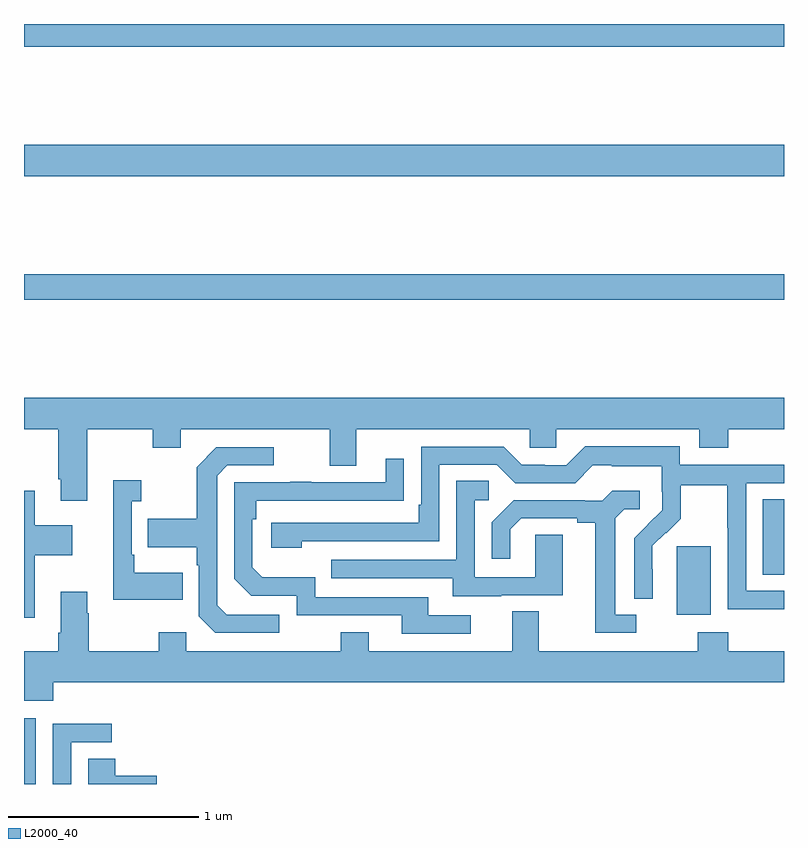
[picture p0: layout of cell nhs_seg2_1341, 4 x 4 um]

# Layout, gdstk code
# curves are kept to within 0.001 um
import gdstk
lib = gdstk.Library(unit=1e-6, precision=1e-09)
def R(c, l, rs):  # rectangles x0, y0, x1, y1
    for r in rs: c.add(gdstk.rectangle(r[:2], r[2:], *l))
def P(c, l, *ps):  # polygons
    for p in ps: c.add(gdstk.Polygon(p, *l))
L2000_40 = (2000, 40)

nhs_seg2_1341 = lib.new_cell('nhs_seg2_1341')
R(nhs_seg2_1341, L2000_40, [(181,613.8,181.063,614.146), (184.436,614.69,184.615,615.051), (184.889,614.902,185,615.299), (181,616.348,185,616.484), (181,617,185,617.164), (181,617.68,185,617.8)])
P(nhs_seg2_1341, L2000_40, [(181.333,615.668),(181.678,615.668),(181.678,615.569),(181.825,615.569),(181.825,615.668),(182.609,615.668),(182.609,615.474),(182.749,615.474),(182.749,615.668),(183.663,615.668),(183.663,615.57),(183.801,615.57),(183.801,615.668),(184.553,615.668),(184.553,615.569),(184.706,615.569),(184.706,615.668),(185,615.668),(185,615.832),(181,615.832),(181,615.668),(181.181,615.668),(181.181,615.403),(181.193,615.403),(181.193,615.291),(181.333,615.291)],
  [(185,614.817),(184.8,614.817),(184.8,615.384),(185,615.384),(185,615.48),(184.452,615.48),(184.452,615.577),(183.955,615.577),(183.855,615.477),(183.74,615.477),(183.74,615.48),(183.621,615.48),(183.525,615.576),(183.09,615.576),(183.09,615.271),(183.077,615.271),(183.077,615.174),(182.301,615.174),(182.301,615.044),(182.462,615.044),(182.462,615.078),(183.186,615.078),(183.186,615.48),(183.489,615.48),(183.585,615.384),(183.9,615.384),(183.993,615.477),(184.093,615.477),(184.093,615.473),(184.356,615.473),(184.356,615.339),(184.358,615.339),(184.358,615.242),(184.212,615.094),(184.212,614.776),(184.308,614.776),(184.307,615.053),(184.377,615.123),(184.38,615.12),(184.457,615.197),(184.457,615.372),(184.702,615.372),(184.702,615.148),(184.704,615.148),(184.704,614.719),(185,614.719)],
  [(182.344,614.691),(182.067,614.691),(182.016,614.742),(182.016,615.423),(182.07,615.477),(182.314,615.477),(182.314,615.573),(182.013,615.573),(181.908,615.467),(181.908,615.195),(181.651,615.195),(181.651,615.047),(181.908,615.047),(181.908,614.951),(181.92,614.951),(181.92,614.682),(182.007,614.595),(182.344,614.595)],
  [(183.352,614.688),(183.127,614.688),(183.127,614.784),(182.532,614.784),(182.532,614.887),(182.255,614.887),(182.202,614.94),(182.202,615.194),(182.222,615.194),(182.222,615.291),(182.999,615.292),(182.999,615.511),(182.903,615.511),(182.903,615.387),(182.513,615.387),(182.513,615.392),(182.401,615.392),(182.401,615.387),(182.106,615.387),(182.106,614.88),(182.196,614.79),(182.436,614.79),(182.436,614.688),(182.987,614.688),(182.987,614.592),(183.352,614.592)],
  [(181.835,614.911),(181.579,614.911),(181.579,615.007),(181.566,615.007),(181.566,615.287),(181.618,615.287),(181.618,615.4),(181.469,615.4),(181.469,614.771),(181.835,614.771)],
  [(183.511,614.793),(183.835,614.793),(183.835,615.113),(183.69,615.113),(183.69,614.889),(183.372,614.889),(183.372,615.294),(183.445,615.294),(183.445,615.395),(183.276,615.395),(183.276,614.979),(182.617,614.979),(182.617,614.883),(183.257,614.883),(183.257,614.789),(183.511,614.789)],
  [(181.057,615.005),(181.255,615.005),(181.255,615.163),(181.057,615.163),(181.057,615.343),(181,615.343),(181,614.676),(181.057,614.676)],
  [(184.222,614.691),(184.111,614.691),(184.111,615.199),(184.158,615.246),(184.24,615.246),(184.24,615.343),(184.096,615.343),(184.044,615.291),(183.95,615.291),(183.95,615.294),(183.578,615.294),(183.462,615.178),(183.462,614.985),(183.559,614.985),(183.559,615.141),(183.616,615.198),(183.911,615.198),(183.911,615.176),(184.007,615.176),(184.007,614.595),(184.222,614.595)],
  [(181.154,614.336),(185,614.336),(185,614.5),(184.706,614.5),(184.706,614.599),(184.546,614.599),(184.546,614.5),(183.709,614.5),(183.709,614.708),(183.569,614.708),(183.569,614.5),(182.815,614.5),(182.815,614.599),(182.668,614.599),(182.668,614.5),(181.854,614.5),(181.854,614.599),(181.708,614.599),(181.708,614.5),(181.341,614.5),(181.341,614.699),(181.333,614.699),(181.333,614.812),(181.193,614.812),(181.193,614.596),(181.181,614.596),(181.181,614.5),(181,614.5),(181,614.237),(181.154,614.237)],
  [(181.248,614.019),(181.462,614.019),(181.462,614.118),(181.152,614.118),(181.152,613.8),(181.248,613.8)],
  [(181.699,613.844),(181.481,613.844),(181.481,613.934),(181.337,613.934),(181.337,613.8),(181.699,613.8)])

lib.write_gds('nhs_seg2_1341.gds')
